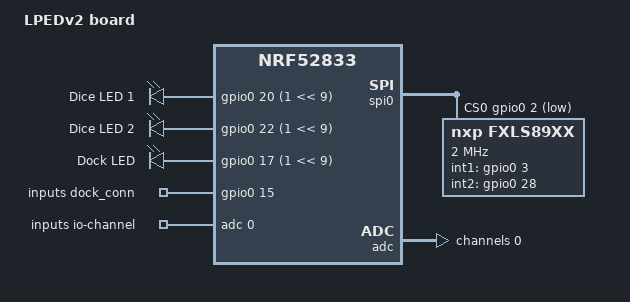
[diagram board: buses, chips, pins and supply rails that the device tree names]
/dts-v1/;
#include <nordic/nrf52833_qdaa.dtsi>
#include "lpedv2-pinctrl.dtsi"

/ {
	model = "LPEDv2 board";
	compatible = "lped,lpedv2";

	chosen {
		zephyr,sram = &sram0;
		zephyr,flash = &flash0;
		zephyr,code-partition = &slot0_partition;
	};

	leds {
		compatible = "gpio-leds";
		diceled1: dice_led1 {
			gpios = <&gpio0 20 (1 << 9)>;
			label = "Dice LED 1";
		};

		diceled2: dice_led2 {
			gpios = <&gpio0 22 (1 << 9)>;
			label = "Dice LED 2";
		};

		dockled: dock_led {
			gpios = <&gpio0 17 (1 << 9)>;
			label = "Dock LED";
		};
	};

	inputs: zephyr,user {
		dock_conn-gpios = <&gpio0 15 GPIO_PULL_DOWN>;
		io-channels = <&adc 0>;
	};
};

&gpio0 {
	status = "okay";
};

&gpiote {
	status = "okay";
};

&spi0 {
	status = "okay";
	compatible = "nordic,nrf-spi";
	pinctrl-0 = <&spi0_default>;
	pinctrl-1 = <&spi0_sleep>;
	pinctrl-names = "default", "sleep";
	cs-gpios = <&gpio0 2 GPIO_ACTIVE_LOW>;
	fxls89xx: fxls89xx@0 {
		zephyr,pm-device-runtime-auto;
		compatible = "nxp,fxls89xx";
		reg = <0x0>;
		spi-max-frequency = <2000000>;
		int1-gpios = <&gpio0 3 GPIO_PULL_UP>;
		int2-gpios = <&gpio0 28 GPIO_PULL_UP>;
	};
};

&adc {
	status = "okay";
	#address-cells = <1>;
	#size-cells = <0>;
	channel@0 {
		reg = <0>;
		zephyr,gain = "ADC_GAIN_1_6";			// Gain of 1/6 with internal reference (0.6V) results in range of +-3.6V
		zephyr,reference = "ADC_REF_INTERNAL";
		zephyr,acquisition-time = <ADC_ACQ_TIME_DEFAULT>;
		zephyr,input-positive = <NRF_SAADC_AIN2>;
		zephyr,resolution = <12>;
	};
};


&flash0 {
	partitions {
		compatible = "fixed-partitions";
		#address-cells = <1>;
		#size-cells = <1>;

		boot_partition: partition@0 {
			label = "mcuboot";
			reg = <0x00000000 DT_SIZE_K(48)>;
		};

		slot0_partition: partition@c000 {
			label = "image-0";
			reg = <0x0000c000 DT_SIZE_K(56)>;
		};

		slot1_partition: partition@1a000 {
			label = "image-1";
			reg = <0x0001a000 DT_SIZE_K(56)>;
		};

		storage_partition: partition@28000 {
			label = "storage";
			reg = <0x00028000 DT_SIZE_K(32)>;
		};
	};
};
